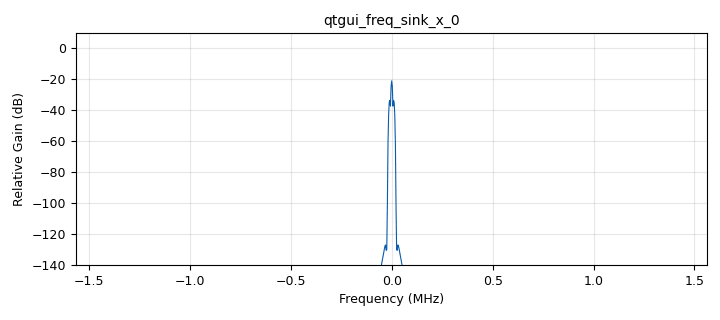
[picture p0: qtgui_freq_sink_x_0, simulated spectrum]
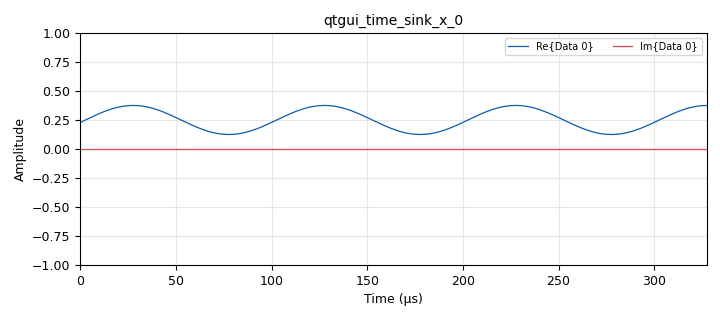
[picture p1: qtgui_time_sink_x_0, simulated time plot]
options:
  parameters:
    generate_options: qt_gui
    id: Prueba_2
    output_language: python
    title: Not titled yet
  states: {}

blocks:
- name: A
  id: variable_qtgui_range
  parameters:
    label: Amplitud de señal
    start: '0'
    step: '1e-2'
    stop: '500e-3'
    value: '500e-3'
  states: {}
- name: Ac
  id: variable_qtgui_range
  parameters:
    label: Amplitud de portadora
    start: '0'
    step: '1e-2'
    stop: '500e-3'
    value: '250e-3'
  states: {}
- name: GTX
  id: variable_qtgui_range
  parameters:
    label: Ganancia...Transmisor
    start: '0'
    step: '500e-3'
    stop: '30'
    value: '500e-3'
  states: {}
- name: 'No'
  id: variable_qtgui_range
  parameters:
    label: Amplitud ruido
    start: '0'
    step: '1e-6'
    stop: '1e-1'
    value: '1e-4'
  states: {}
- name: fc
  id: variable_qtgui_range
  parameters:
    label: Frecuencia portadora
    start: 50e6
    step: 1e5
    stop: 1e9
    value: 200e6
  states: {}
- name: fcut
  id: variable_qtgui_range
  parameters:
    start: '0'
    step: '100'
    stop: samp_rate/2
    value: samp_rate/2
  states: {}
- name: fm
  id: variable_qtgui_range
  parameters:
    label: Frecuencia señal
    start: '1000'
    step: '1000'
    stop: '1000000'
    value: '10000'
  states: {}
- name: ka
  id: variable_qtgui_range
  parameters:
    label: Coeficiente ka
    start: '0'
    step: '1e-2'
    stop: '4'
    value: '1'
  states: {}
- name: samp_rate
  id: variable
  parameters:
    value: int(25e6/8)
  states: {}
- name: t_band
  id: variable_qtgui_range
  parameters:
    label: Banda de transición
    start: '0'
    step: '100'
    stop: samp_rate/200
    value: samp_rate/200
  states: {}
- name: analog_sig_source_x_0
  id: analog_sig_source_x
  parameters:
    amp: A
    freq: fm
    offset: '0'
    phase: '0'
    samp_rate: samp_rate
    type: float
    waveform: analog.GR_COS_WAVE
  states: {}
- name: blocks_add_const_vxx_0
  id: blocks_add_const_vxx
  parameters:
    const: '1'
    type: float
  states: {}
- name: blocks_float_to_complex_0_0
  id: blocks_float_to_complex
  parameters: {}
  states: {}
- name: blocks_multiply_const_vxx_0
  id: blocks_multiply_const_vxx
  parameters:
    const: ka
    type: float
  states: {}
- name: blocks_multiply_const_vxx_0_0
  id: blocks_multiply_const_vxx
  parameters:
    const: Ac
    type: complex
  states: {}
- name: blocks_null_source_0
  id: blocks_null_source
  parameters:
    type: float
  states: {}
- name: blocks_throttle2_0
  id: blocks_throttle2
  parameters:
    samples_per_second: samp_rate
    type: float
  states: {}
- name: qtgui_freq_sink_x_0
  id: qtgui_freq_sink_x
  parameters:
    bw: samp_rate
    fc: '0'
    fftsize: '1024'
    type: complex
  states: {}
- name: qtgui_time_sink_x_0
  id: qtgui_time_sink_x
  parameters:
    size: '1024'
    srate: samp_rate
    type: complex
  states: {}
- name: uhd_usrp_sink_0
  id: uhd_usrp_sink
  parameters:
    ant0: '"TX/RX"'
    center_freq0: fc
    gain0: GTX
    samp_rate: samp_rate
    sync: pc_clock
    type: fc32
  states: {}

connections:
- [analog_sig_source_x_0, '0', blocks_throttle2_0, '0']
- [blocks_add_const_vxx_0, '0', blocks_float_to_complex_0_0, '0']
- [blocks_float_to_complex_0_0, '0', blocks_multiply_const_vxx_0_0, '0']
- [blocks_multiply_const_vxx_0, '0', blocks_add_const_vxx_0, '0']
- [blocks_multiply_const_vxx_0_0, '0', qtgui_freq_sink_x_0, '0']
- [blocks_multiply_const_vxx_0_0, '0', qtgui_time_sink_x_0, '0']
- [blocks_multiply_const_vxx_0_0, '0', uhd_usrp_sink_0, '0']
- [blocks_null_source_0, '0', blocks_float_to_complex_0_0, '1']
- [blocks_throttle2_0, '0', blocks_multiply_const_vxx_0, '0']

metadata:
  file_format: 1
  grc_version: v3.11.0.0git-810-g1ecb8565
